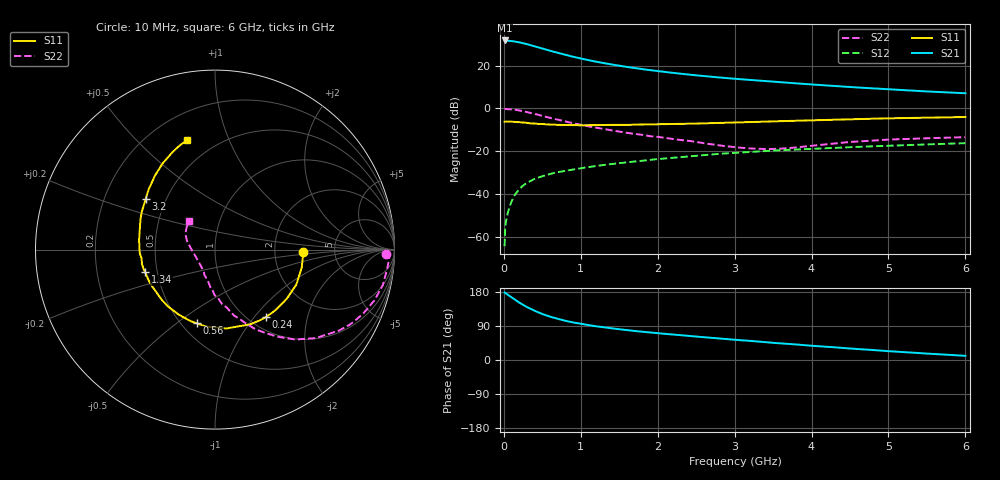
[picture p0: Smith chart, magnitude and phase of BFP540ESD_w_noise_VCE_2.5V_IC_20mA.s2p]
! (c) 2015  Infineon Technologies AG, Munich
! Infineon Technologies  Discrete & RF Semiconductors
! BFP540ESD
! VCE =  2.5 V,  IC =  20 mA
! Common Emitter S-Parameters:  Nov 2015
# GHz  S  MA  R  50
!  f  S11  S21  S12  S22
! GHz  MAG  ANG  MAG  ANG  MAG  ANG  MAG  ANG
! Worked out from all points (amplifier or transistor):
!   210 points, 10 MHz to 6 GHz, reference 50 ohm
!   highest |S21| = 31.8 dB at 10 MHz (marker M1)
!   |S21| within 3 dB of that: start of sweep to 425.3 MHz
!   unconditionally stable (mu >= 1): start of sweep to 11.63 MHz; 2.137 GHz to end of sweep
!   at 185 MHz: K = 0.21, MSG = 34.8 dB, |S12| = -38.5 dB
!   at 1.52 GHz: K = 0.89, MSG = 22.7 dB, |S12| = -25.5 dB
!   at 6 GHz: K = 1.12, MAG = 9.6 dB, |S12| = -16.2 dB
!   lowest NFmin = 1.17 dB at 900 MHz
!   S11 on the Smith chart (normalised r, x): 10 MHz: 2.90, -0.12; 240 MHz: 1.19, -1.15; 560 MHz: 0.59, -0.59; 1.34 GHz: 0.43, -0.13; 3.2 GHz: 0.39, +0.28; 6 GHz: 0.35, +0.71
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0.01  0.4884 -1.8  38.95 177.9  0.0006 99.3  0.9524 -1.4
0.03  0.4913 -7.1  38.51 175.5  0.0024 99.0  0.9701 -3.2
0.1  0.4934 -23.2  37.81 165.2  0.0066 82.9  0.956 -11.9
0.15  0.4847 -34.4  36.72 158.2  0.0099 78.4  0.9321 -17.7
0.2  0.4772 -45.1  35.24 151.6  0.0127 73.9  0.8997 -23.3
0.24  0.4707 -53.1  33.91 146.7  0.0152 73.5  0.8717 -27.4
0.3  0.4604 -64.6  31.94 139.7  0.0179 70.0  0.8254 -33.1
0.4  0.4439 -81.6  28.42 129.6  0.0226 65.8  0.7472 -41.3
0.5  0.4326 -96.5  25.31 121.1  0.0259 61.8  0.6708 -48.3
0.56  0.4231 -103.9  23.51 117.2  0.0279 60.8  0.6294 -51.5
0.68  0.415 -117.1  20.48 109.7  0.0317 60.2  0.5568 -57.6
0.8  0.411 -129.1  17.93 103.4  0.0347 58.2  0.4944 -63.3
1.02  0.4038 -144.9  14.46 94.7  0.0406 56.1  0.4074 -70.8
1.34  0.4091 -162.0  11.17 85.3  0.0486 55.2  0.3203 -80.0
1.7  0.4191 -176.9  8.805 76.6  0.0574 53.5  0.2551 -90.2
2.02  0.4261 173.2  7.402 70.3  0.0657 52.1  0.2142 -96.5
2.56  0.4464 158.5  5.811 60.8  0.0797 48.8  0.1574 -110.7
3.1  0.4722 146.1  4.792 52.0  0.0934 44.7  0.1199 -131.5
3.2  0.478 143.9  4.641 50.5  0.0959 43.8  0.1163 -137.1
4.1  0.536 127.5  3.541 36.3  0.1156 35.9  0.1397 173.8
5.1  0.5917 113.7  2.745 22.1  0.1362 27.2  0.1894 149.6
6  0.6299 104.4  2.269 11.0  0.154 20.3  0.213 132.1
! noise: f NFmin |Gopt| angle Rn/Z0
0.9  1.17  0.28  -137  0.11
1.8  1.32  0.31  -144  0.11
2.4  1.35  0.32  -135  0.12
3  1.45  0.35  -130  0.13
4  1.53  0.47  -104  0.22
5  1.66  0.56  -87  0.31
6  1.97  0.55  -87  0.57
